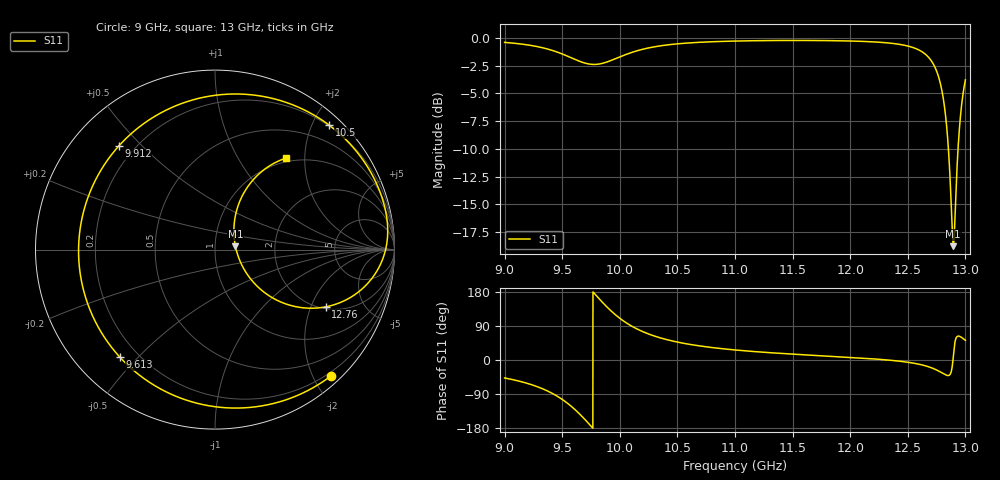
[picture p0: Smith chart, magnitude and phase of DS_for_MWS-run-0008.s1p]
! TOUCHSTONE file generated by CST DESIGN STUDIO
! Date and time: Tue Feb  4 13:02:23 2025
! Project name: C:\Work\MatlabApps\UnitCellOptimizationMatlab\CST\unitcell.cst
! Tree item: Tasks\Sweep1\SPara1\S-Parameters
! Header version: 2024
! Port assignment regex: !\s*Touchstone port\s*([0-9]+)\s*=\s*(CST MWS port|CST DES external port|CST DES block port)\s*(.+)\s* \(\"(.*)\"\)(\s*mode\s*([0-9]+))?.*
! Touchstone port assignment:
! Touchstone port 1 = CST DES external port 1 ("")
# GHz S MA R 50
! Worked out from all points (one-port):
!   4001 points, 9 GHz to 13 GHz, reference 50 ohm
!   lowest |S11| = -18.8 dB at 12.89 GHz (marker M1), VSWR 1.26, Z = 62.8 + j2.43 ohm
!   |S11| at or under -10 dB: 12.85 GHz to 12.94 GHz (83.46 MHz wide, 0.647 % of centre)
!   S11 on the Smith chart (normalised r, x): 9 GHz: 0.14, -2.27; 9.613 GHz: 0.13, -0.44; 9.912 GHz: 0.14, +0.43; 10.5 GHz: 0.19, +2.26; 12.76 GHz: 2.08, -2.56; 13 GHz: 0.93, +1.64
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9  0.9554 -47.4
9.268  0.918 -68.7
9.4  0.8836 -85.9
9.5  0.8474 -104.0
9.613  0.8 -131.4
9.694  0.7716 -155.9
9.763  0.7603 -179.0
9.832  0.7651 157.8
9.912  0.7876 133.0
10  0.8219 110.1
10.102  0.8604 89.6
10.234  0.8985 70.5
10.496  0.9408 47.6
10.5  0.9412 47.3
10.718  0.9579 36.1
11  0.9687 26.5
11.5  0.9748 15.5
12  0.9692 6.9
12.5  0.9202 -6.0
12.654  0.844 -15.4
12.757  0.6935 -27.4
12.83  0.4366 -39.5
12.853  0.3141 -41.0
12.883  0.1468 -22.2
12.895  0.1153 9.5
12.909  0.1529 46.5
12.954  0.4257 61.8
13  0.6475 52.1
